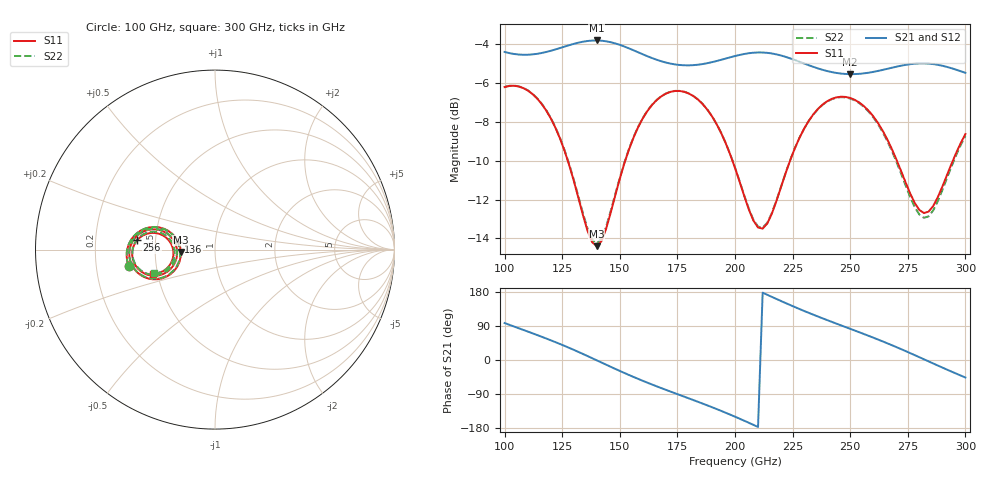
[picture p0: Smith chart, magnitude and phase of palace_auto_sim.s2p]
#  GHZ S DB R 50
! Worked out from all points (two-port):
!   101 points, 100 GHz to 300 GHz, reference 50 ohm
!   highest |S21| = -3.80 dB at 140 GHz (marker M1); lowest = -5.5 dB at 250 GHz (marker M2)
!   |S21| within 3 dB of the highest: start of sweep to end of sweep
!   lowest |S11| = -14.4 dB at 140 GHz (marker M3), VSWR 1.47, Z = 34 - j0.94 ohm
!   |S11| at or under -10 dB: 127.4 GHz to 152.3 GHz (24.92 GHz wide, 17.8 % of centre); 198.9 GHz to 223.9 GHz (24.98 GHz wide, 11.8 % of centre); 270.3 GHz to 294.5 GHz (24.27 GHz wide, 8.59 % of centre)
!   |S22| runs from -14.3 to -6.1 dB; largest |S21 - S12| = 9.7e-14
!   S11 on the Smith chart (normalised r, x): 100 GHz: 0.35, -0.08; 136 GHz: 0.66, +0.06; 256 GHz: 0.39, +0.05; 300 GHz: 0.47, -0.15
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100  -6.20 -169.4  -4.39 97.5  -4.39 97.5  -6.20 -169.5
108  -6.25 178.9  -4.54 79.7  -4.54 79.7  -6.24 178.9
118  -7.40 165.6  -4.40 56.9  -4.40 56.9  -7.38 165.7
126  -9.48 158.3  -4.12 37.2  -4.12 37.2  -9.44 158.5
134  -12.79 163.0  -3.87 15.9  -3.87 15.9  -12.70 163.2
136  -13.61 168.2  -3.83 10.4  -3.83 10.4  -13.49 168.3
140  -14.40 -176.0  -3.80 -0.9  -3.80 -0.9  -14.26 -176.3
146  -12.69 -155.5  -3.89 -17.8  -3.89 -17.8  -12.61 -156.2
154  -9.41 -151.6  -4.21 -39.6  -4.21 -39.6  -9.38 -152.3
168  -6.68 -166.7  -4.87 -74.1  -4.87 -74.1  -6.67 -167.2
176  -6.40 -177.2  -5.07 -92.4  -5.07 -92.4  -6.40 -177.7
186  -7.08 170.2  -5.02 -115.1  -5.02 -115.1  -7.08 169.8
200  -10.36 160.6  -4.60 -149.6  -4.60 -149.6  -10.35 160.2
212  -13.49 -174.8  -4.42 177.7  -4.42 177.7  -13.45 -175.4
224  -9.96 -154.8  -4.73 144.9  -4.73 144.9  -9.95 -155.6
234  -7.61 -161.5  -5.16 119.5  -5.16 119.5  -7.62 -162.4
250  -6.76 179.9  -5.54 82.3  -5.54 82.3  -6.79 178.9
256  -7.19 173.2  -5.50 68.5  -5.50 68.5  -7.23 172.1
268  -9.37 164.3  -5.21 39.3  -5.21 39.3  -9.47 163.0
282  -12.69 -177.6  -4.98 1.9  -4.98 1.9  -12.94 -178.3
290  -11.33 -160.4  -5.10 -20.0  -5.10 -20.0  -11.51 -160.4
300  -8.62 -158.7  -5.47 -46.1  -5.47 -46.1  -8.72 -158.8
